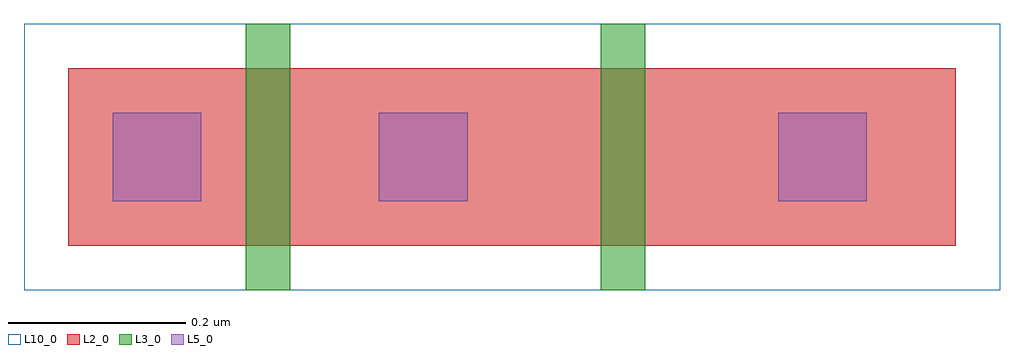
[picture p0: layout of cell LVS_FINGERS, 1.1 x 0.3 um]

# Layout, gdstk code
import gdstk
lib = gdstk.Library(unit=1e-6, precision=1e-09)
def R(c, l, rs):  # rectangles x0, y0, x1, y1
    for r in rs: c.add(gdstk.rectangle(r[:2], r[2:], *l))
L2_0 = (2, 0)
L3_0 = (3, 0)
L5_0 = (5, 0)
L10_0 = (10, 0)

lvs_fingers = lib.new_cell('LVS_FINGERS')
R(lvs_fingers, L2_0, [(0,0,1,0.2)])
R(lvs_fingers, L3_0, [(0.2,-0.05,0.25,0.25), (0.6,-0.05,0.65,0.25)])
R(lvs_fingers, L5_0, [(0.05,0.05,0.15,0.15), (0.35,0.05,0.45,0.15), (0.8,0.05,0.9,0.15)])
R(lvs_fingers, L10_0, [(-0.05,-0.05,1.05,0.25)])

lib.write_gds('LVS_FINGERS.gds')
